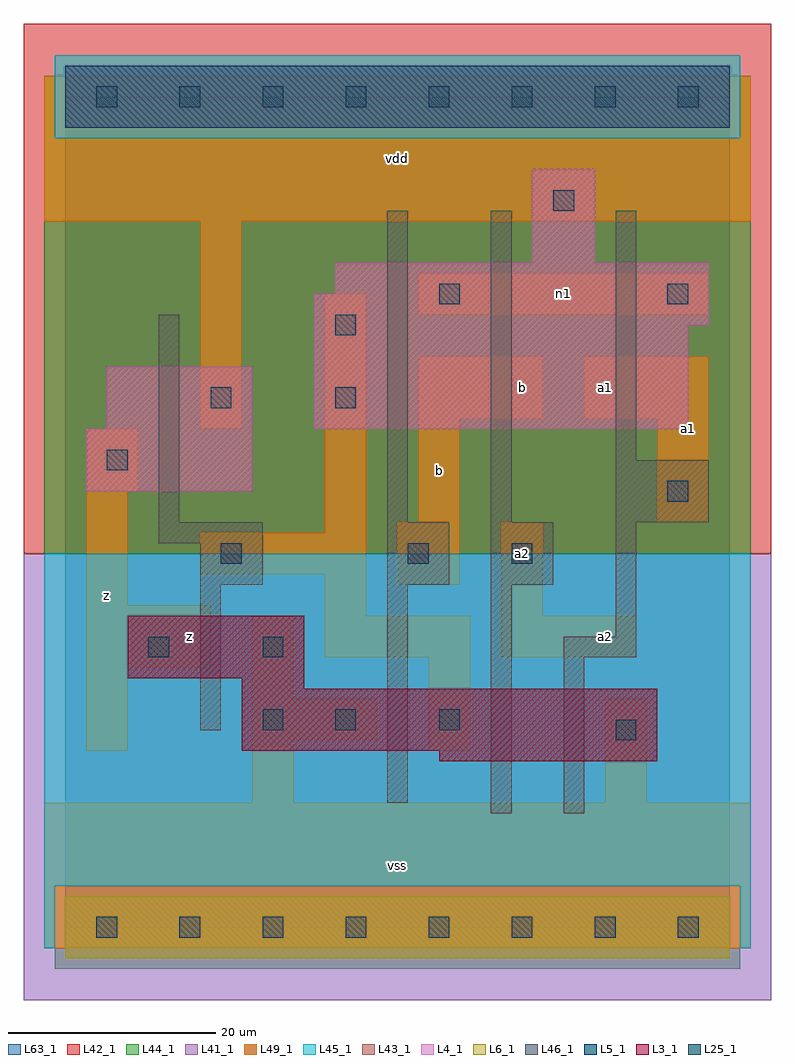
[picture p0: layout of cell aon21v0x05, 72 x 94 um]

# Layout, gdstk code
import gdstk
lib = gdstk.Library(unit=1e-6, precision=1e-09)
def R(c, l, rs):  # rectangles x0, y0, x1, y1
    for r in rs: c.add(gdstk.rectangle(r[:2], r[2:], *l))
def A(c, l, x, y, w, h, nx, ny, dx, dy):  # array of equal rectangles
    R(c, l, [(x+i*dx, y+j*dy, x+i*dx+w, y+j*dy+h) for i in range(nx) for j in range(ny)])
L3_1 = (3, 1)
L4_1 = (4, 1)
L5_1 = (5, 1)
L6_1 = (6, 1)
L25_1 = (25, 1)
L41_1 = (41, 1)
L42_1 = (42, 1)
L43_1 = (43, 1)
L44_1 = (44, 1)
L45_1 = (45, 1)
L46_1 = (46, 1)
L49_1 = (49, 1)
L63_1 = (63, 1)

aon21v0x05 = lib.new_cell('aon21v0x05')
R(aon21v0x05, L3_1, [(36,16,57,17), (17,17,57,23), (17,23,23,24), (6,24,23,30)])
R(aon21v0x05, L4_1, [(2,42,18,48), (4,48,18,54), (24,48,60,58), (24,58,62,61), (26,61,62,64), (45,64,51,73)])
R(aon21v0x05, L5_1, [(0,77,64,83)])
R(aon21v0x05, L6_1, [(0,-3,64,3), (0,-3,64,3)])
A(aon21v0x05, L25_1, 3, -1, 2, 2, 8, 2, 8, 80)
R(aon21v0x05, L25_1, [(53,18,55,20), (19,19,21,21), (26,19,28,21), (36,19,38,21), (8,26,10,28), (19,26,21,28), (15,35,17,37), (33,35,35,37), (43,35,45,37), (58,41,60,43), (4,44,6,46), (14,50,16,52), (26,50,28,52), (26,57,28,59), (36,60,38,62), (58,60,60,62), (47,69,49,71)])
R(aon21v0x05, L41_1, [(-4,-7,68,36)])
R(aon21v0x05, L42_1, [(-4,36,68,87)])
R(aon21v0x05, L43_1, [(0,-3,64,3), (36,16,57,17), (17,17,57,23), (17,23,23,24), (6,24,23,30), (2,42,18,48), (4,48,18,54), (24,48,60,58), (24,58,62,61), (26,61,62,64), (45,64,51,73), (0,77,64,83)])
R(aon21v0x05, L44_1, [(-1,-4,65,4), (-2,36,66,76), (-2,76,-1,82), (65,76,66,82)])
R(aon21v0x05, L45_1, [(-2,-2,-1,4), (65,-2,66,4), (-2,4,66,36), (-1,76,65,84)])
R(aon21v0x05, L46_1, [(41,11,43,33), (48,11,50,26), (31,12,33,33), (13,19,15,33), (48,26,55,28), (53,28,55,39), (13,33,19,37), (31,33,37,39), (41,33,47,39), (9,37,19,39), (9,39,11,59), (31,39,33,69), (41,39,43,69), (53,39,62,45), (53,45,55,69)])
R(aon21v0x05, L49_1, [(-2,-2,66,12), (18,12,22,18), (52,12,56,22), (2,17,6,25), (35,17,39,26), (18,18,30,22), (18,22,22,30), (2,25,14,31), (25,26,39,30), (42,26,55,30), (25,30,29,34), (42,30,46,39), (2,31,6,42), (32,33,38,39), (13,34,29,38), (25,38,29,61), (34,39,38,49), (57,39,62,49), (2,42,7,48), (13,48,17,68), (34,49,46,55), (50,49,62,55), (34,59,62,63), (-2,68,66,82)])
R(aon21v0x05, L63_1, [(0,0,64,80)])
aon21v0x05.add(gdstk.Label('z', (4,32), layer=49, texttype=1))
aon21v0x05.add(gdstk.Label('z', (12,28), layer=49, texttype=1))
aon21v0x05.add(gdstk.Label('vss', (32,6), layer=49, texttype=1))
aon21v0x05.add(gdstk.Label('a2', (44,36), layer=49, texttype=1))
aon21v0x05.add(gdstk.Label('b', (36,44), layer=49, texttype=1))
aon21v0x05.add(gdstk.Label('b', (44,52), layer=49, texttype=1))
aon21v0x05.add(gdstk.Label('vdd', (32,74), layer=49, texttype=1))
aon21v0x05.add(gdstk.Label('a2', (52,28), layer=49, texttype=1))
aon21v0x05.add(gdstk.Label('a1', (52,52), layer=49, texttype=1))
aon21v0x05.add(gdstk.Label('a1', (60,48), layer=49, texttype=1))
aon21v0x05.add(gdstk.Label('n1', (48,61), layer=49, texttype=1))

lib.write_gds('aon21v0x05.gds')
